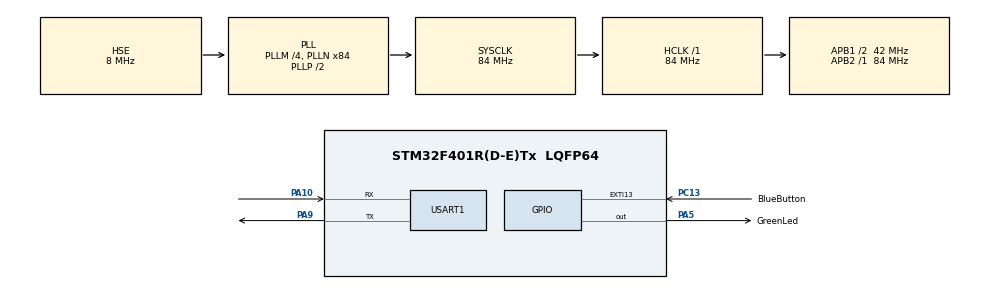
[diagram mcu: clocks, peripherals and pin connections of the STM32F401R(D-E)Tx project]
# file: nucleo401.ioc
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Mcu.Family=STM32F4
Mcu.Name=STM32F401R(D-E)Tx
Mcu.Package=LQFP64
NVIC.EXTI15_10_IRQn=true\:0\:0\:false\:false\:true\:true\:true\:true
NVIC.PriorityGroup=NVIC_PRIORITYGROUP_4
NVIC.USART1_IRQn=true\:0\:0\:false\:false\:true\:true\:true\:true
PA10.Mode=Asynchronous
PA10.Signal=USART1_RX
PA13.GPIO_Label=TMS
PA13.Mode=Serial_Wire
PA13.Signal=SYS_JTMS-SWDIO
PA14.GPIO_Label=TCK
PA14.Mode=Serial_Wire
PA14.Signal=SYS_JTCK-SWCLK
PA5.GPIO_Label=GreenLed
PA5.GPIO_Mode=GPIO_MODE_OUTPUT_PP
PA5.GPIO_PuPd=GPIO_NOPULL
PA5.GPIO_Speed=GPIO_SPEED_FREQ_LOW
PA5.Signal=GPIO_Output
PA9.Mode=Asynchronous
PA9.Signal=USART1_TX
PC13-ANTI_TAMP.GPIO_Label=BlueButton
PC13-ANTI_TAMP.GPIO_ModeDefaultEXTI=GPIO_MODE_IT_FALLING
PC13-ANTI_TAMP.GPIO_PuPd=GPIO_NOPULL
PC13-ANTI_TAMP.Signal=GPXTI13
PH0\ -\ OSC_IN.Mode=HSE-External-Clock-Source
PH0\ -\ OSC_IN.Signal=RCC_OSC_IN
PH1\ -\ OSC_OUT.Mode=HSE-External-Clock-Source
PH1\ -\ OSC_OUT.Signal=RCC_OSC_OUT
ProjectManager.HeapSize=0x200
ProjectManager.StackSize=0x400
ProjectManager.TargetToolchain=STM32CubeIDE
RCC.48MHZClocksFreq_Value=24000000
RCC.AHBFreq_Value=84000000
RCC.APB1CLKDivider=RCC_HCLK_DIV2
RCC.APB1Freq_Value=42000000
RCC.APB1TimFreq_Value=84000000
RCC.APB2Freq_Value=84000000
RCC.APB2TimFreq_Value=84000000
RCC.CortexFreq_Value=84000000
RCC.HCLKFreq_Value=84000000
RCC.HSE_VALUE=8000000
RCC.HSI_VALUE=16000000
RCC.PLLM=4
RCC.PLLN=84
RCC.PLLQ=7
RCC.PLLSourceVirtual=RCC_PLLSOURCE_HSE
RCC.SYSCLKFreq_VALUE=84000000
RCC.SYSCLKSource=RCC_SYSCLKSOURCE_PLLCLK
RCC.VCOOutputFreq_Value=168000000
USART1.VirtualMode=VM_ASYNC
board=NUCLEO-F401RE

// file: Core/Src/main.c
/* USER CODE BEGIN Header */
/**
 ******************************************************************************
 * @file           : main.c
 * @brief          : Main program body
 ******************************************************************************
 * @attention
 *
 * Copyright (c) 2025 STMicroelectronics.
 * All rights reserved.
 *
 * This software is licensed under terms that can be found in the LICENSE file
 * in the root directory of this software component.
 * If no LICENSE file comes with this software, it is provided AS-IS.
 *
 ******************************************************************************
 */
/* USER CODE END Header */
#include "main.h"

/* USER CODE BEGIN Includes */
#include <string.h>
/* USER CODE END Includes */

/* USER CODE BEGIN PD */
#define BUFFER_SIZE (20)
/* USER CODE END PD */

UART_HandleTypeDef huart1;

/* USER CODE BEGIN PV */
volatile uint16_t keyPressed = 0;
volatile uint32_t myTick = 0;
uint8_t rxBuffer[BUFFER_SIZE] = {0,};
uint16_t length = 0;
/* USER CODE END PV */

void SystemClock_Config(void);
static void MX_GPIO_Init(void);
static void MX_USART1_UART_Init(void);

int main(void)
{

  /* MCU Configuration--------------------------------------------------------*/

  /* Reset of all peripherals, Initializes the Flash interface and the Systick. */
  HAL_Init();

  /* Configure the system clock */
  SystemClock_Config();

  /* Initialize all configured peripherals */
  MX_GPIO_Init();
  MX_USART1_UART_Init();
  /* USER CODE BEGIN 2 */
  HAL_UARTEx_ReceiveToIdle_IT(&huart1, (uint8_t *)rxBuffer, BUFFER_SIZE);
  char *onMessage = "B\n";      // сообщение для ВКЛ  светодиода
  char *offMessage = "b\n";     // сообщение для ВЫКЛ светодиода
  uint16_t prevButtonState = 0; // статус кнопки до антидребезговой паузы
  uint8_t ledState = 0;         // статус светодиода
  uint32_t debounce = 50;       // антидребезговая пауза в мс
  /* USER CODE END 2 */

  /* Infinite loop */
  /* USER CODE BEGIN WHILE */
  while (1)
  {
    if ((HAL_GetTick() - myTick > debounce))
    {
      //		была нажата кнопка и дребезг прошёл
      if (keyPressed && prevButtonState == HAL_GPIO_ReadPin(BlueButton_GPIO_Port, BlueButton_Pin))
      {
        //			отправляем на Ардуино хранимый статус светодиода
        if (ledState)
        {
          HAL_UART_Transmit(&huart1, (uint8_t *)onMessage, strlen(onMessage), 10);
          //	-------- убрать после отладки ---------
          // HAL_GPIO_WritePin(GreenLed_GPIO_Port, GreenLed_Pin, GPIO_PIN_SET);
        }
        else
        {
          HAL_UART_Transmit(&huart1, (uint8_t *)offMessage, strlen(offMessage), 10);
          //	-------- убрать после отладки ---------
          // HAL_GPIO_WritePin(GreenLed_GPIO_Port, GreenLed_Pin, GPIO_PIN_RESET);
        }
        //			переключаем хранимый статус светодиода
        ledState = !ledState;
        keyPressed = 0;
      }
      myTick = HAL_GetTick();
      prevButtonState = HAL_GPIO_ReadPin(BlueButton_GPIO_Port, BlueButton_Pin);
    }
    if (length > 0)
    {
      //		  Обработка сообщения от Ардуино
      if (strncmp("A\n", (char *)rxBuffer, 2) == 0)
      {
        HAL_GPIO_WritePin(GreenLed_GPIO_Port, GreenLed_Pin, 1);
      }
      else if (strncmp("a\n", (char *)rxBuffer, 2) == 0)
      {
        HAL_GPIO_WritePin(GreenLed_GPIO_Port, GreenLed_Pin, 0);
      }
      //		  Перезапускаем приём
      length = 0;
      HAL_UARTEx_ReceiveToIdle_IT(&huart1, rxBuffer, BUFFER_SIZE);
    }
    /* USER CODE END WHILE */

  }
}

void SystemClock_Config(void)
{
  RCC_OscInitTypeDef RCC_OscInitStruct = {0};
  RCC_ClkInitTypeDef RCC_ClkInitStruct = {0};

  /** Configure the main internal regulator output voltage
   */
  __HAL_RCC_PWR_CLK_ENABLE();
  __HAL_PWR_VOLTAGESCALING_CONFIG(PWR_REGULATOR_VOLTAGE_SCALE2);

  /** Initializes the RCC Oscillators according to the specified parameters
   * in the RCC_OscInitTypeDef structure.
   */
  RCC_OscInitStruct.OscillatorType = RCC_OSCILLATORTYPE_HSE;
  RCC_OscInitStruct.HSEState = RCC_HSE_BYPASS;
  RCC_OscInitStruct.PLL.PLLState = RCC_PLL_ON;
  RCC_OscInitStruct.PLL.PLLSource = RCC_PLLSOURCE_HSE;
  RCC_OscInitStruct.PLL.PLLM = 4;
  RCC_OscInitStruct.PLL.PLLN = 84;
  RCC_OscInitStruct.PLL.PLLP = RCC_PLLP_DIV2;
  RCC_OscInitStruct.PLL.PLLQ = 7;
  if (HAL_RCC_OscConfig(&RCC_OscInitStruct) != HAL_OK)
  {
    Error_Handler();
  }

  /** Initializes the CPU, AHB and APB buses clocks
   */
  RCC_ClkInitStruct.ClockType = RCC_CLOCKTYPE_HCLK | RCC_CLOCKTYPE_SYSCLK | RCC_CLOCKTYPE_PCLK1 | RCC_CLOCKTYPE_PCLK2;
  RCC_ClkInitStruct.SYSCLKSource = RCC_SYSCLKSOURCE_PLLCLK;
  RCC_ClkInitStruct.AHBCLKDivider = RCC_SYSCLK_DIV1;
  RCC_ClkInitStruct.APB1CLKDivider = RCC_HCLK_DIV2;
  RCC_ClkInitStruct.APB2CLKDivider = RCC_HCLK_DIV1;

  if (HAL_RCC_ClockConfig(&RCC_ClkInitStruct, FLASH_LATENCY_2) != HAL_OK)
  {
    Error_Handler();
  }
}

static void MX_USART1_UART_Init(void)
{

  huart1.Instance = USART1;
  huart1.Init.BaudRate = 115200;
  huart1.Init.WordLength = UART_WORDLENGTH_8B;
  huart1.Init.StopBits = UART_STOPBITS_1;
  huart1.Init.Parity = UART_PARITY_NONE;
  huart1.Init.Mode = UART_MODE_TX_RX;
  huart1.Init.HwFlowCtl = UART_HWCONTROL_NONE;
  huart1.Init.OverSampling = UART_OVERSAMPLING_16;
  if (HAL_UART_Init(&huart1) != HAL_OK)
  {
    Error_Handler();
  }
}

static void MX_GPIO_Init(void)
{
  GPIO_InitTypeDef GPIO_InitStruct = {0};

  /* GPIO Ports Clock Enable */
  __HAL_RCC_GPIOC_CLK_ENABLE();
  __HAL_RCC_GPIOH_CLK_ENABLE();
  __HAL_RCC_GPIOA_CLK_ENABLE();

  /*Configure GPIO pin Output Level */
  HAL_GPIO_WritePin(GreenLed_GPIO_Port, GreenLed_Pin, GPIO_PIN_RESET);

  /*Configure GPIO pin : BlueButton_Pin */
  GPIO_InitStruct.Pin = BlueButton_Pin;
  GPIO_InitStruct.Mode = GPIO_MODE_IT_FALLING;
  GPIO_InitStruct.Pull = GPIO_NOPULL;
  HAL_GPIO_Init(BlueButton_GPIO_Port, &GPIO_InitStruct);

  /*Configure GPIO pin : GreenLed_Pin */
  GPIO_InitStruct.Pin = GreenLed_Pin;
  GPIO_InitStruct.Mode = GPIO_MODE_OUTPUT_PP;
  GPIO_InitStruct.Pull = GPIO_NOPULL;
  GPIO_InitStruct.Speed = GPIO_SPEED_FREQ_LOW;
  HAL_GPIO_Init(GreenLed_GPIO_Port, &GPIO_InitStruct);

  /* EXTI interrupt init*/
  HAL_NVIC_SetPriority(EXTI15_10_IRQn, 0, 0);
  HAL_NVIC_EnableIRQ(EXTI15_10_IRQn);

}

/* USER CODE BEGIN 4 */
void HAL_UARTEx_RxEventCallback(UART_HandleTypeDef *huart, uint16_t Size)
{
  if (huart == &huart1)
  {
    length = Size;
    //  ------- Отправка эхо. Убрать после отладки ----------
    //  HAL_UART_Transmit(&huart1, (uint8_t *)rxBuffer, length, 10);
    //	HAL_UARTEx_ReceiveToIdle_IT(&huart1, rxBuffer, BUFFER_SIZE);
  }
}

void HAL_GPIO_EXTI_Callback(uint16_t GPIO_Pin)
{
  if (GPIO_Pin == BlueButton_Pin)
  {
    keyPressed = 1;
  }
}
/* USER CODE END 4 */

void Error_Handler(void)
{
  __disable_irq();
  while (1)
  {
  }
}
